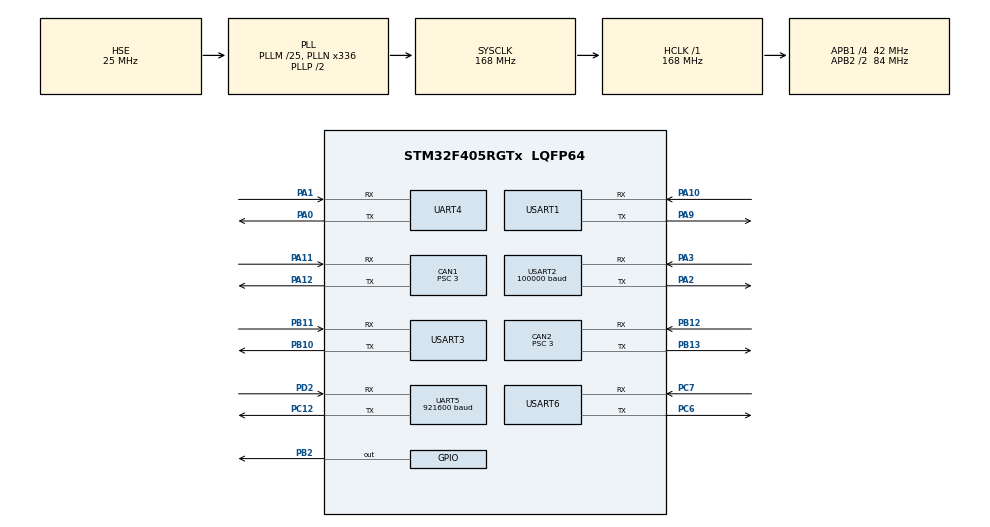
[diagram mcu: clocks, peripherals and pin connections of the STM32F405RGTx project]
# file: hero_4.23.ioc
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CAN1.ABOM=ENABLE
CAN1.AWUM=ENABLE
CAN1.BS1=CAN_BS1_9TQ
CAN1.BS2=CAN_BS2_4TQ
CAN1.CalculateBaudRate=1000000
CAN1.CalculateTimeBit=1000
CAN1.CalculateTimeQuantum=71.42857142857143
CAN1.NART=DISABLE
CAN1.Prescaler=3
CAN1.TXFP=ENABLE
CAN2.ABOM=ENABLE
CAN2.AWUM=ENABLE
CAN2.BS1=CAN_BS1_9TQ
CAN2.BS2=CAN_BS2_4TQ
CAN2.CalculateBaudRate=1000000
CAN2.CalculateTimeBit=1000
CAN2.CalculateTimeQuantum=71.42857142857143
CAN2.NART=ENABLE
CAN2.Prescaler=3
CAN2.TXFP=ENABLE
Dma.Request0=USART2_RX
Dma.Request1=UART4_RX
Dma.Request2=UART5_RX
Dma.Request3=USART1_RX
Dma.Request4=USART6_RX
Dma.Request5=USART6_TX
Dma.UART4_RX.1.Direction=DMA_PERIPH_TO_MEMORY
Dma.UART4_RX.1.FIFOMode=DMA_FIFOMODE_DISABLE
Dma.UART4_RX.1.Instance=DMA1_Stream2
Dma.UART4_RX.1.MemDataAlignment=DMA_MDATAALIGN_BYTE
Dma.UART4_RX.1.MemInc=DMA_MINC_ENABLE
Dma.UART4_RX.1.Mode=DMA_CIRCULAR
Dma.UART4_RX.1.PeriphDataAlignment=DMA_PDATAALIGN_BYTE
Dma.UART4_RX.1.PeriphInc=DMA_PINC_DISABLE
Dma.UART4_RX.1.Priority=DMA_PRIORITY_VERY_HIGH
Dma.UART5_RX.2.Direction=DMA_PERIPH_TO_MEMORY
Dma.UART5_RX.2.FIFOMode=DMA_FIFOMODE_DISABLE
Dma.UART5_RX.2.Instance=DMA1_Stream0
Dma.UART5_RX.2.MemDataAlignment=DMA_MDATAALIGN_BYTE
Dma.UART5_RX.2.MemInc=DMA_MINC_ENABLE
Dma.UART5_RX.2.Mode=DMA_CIRCULAR
Dma.UART5_RX.2.PeriphDataAlignment=DMA_PDATAALIGN_BYTE
Dma.UART5_RX.2.PeriphInc=DMA_PINC_DISABLE
Dma.UART5_RX.2.Priority=DMA_PRIORITY_VERY_HIGH
Dma.USART1_RX.3.Direction=DMA_PERIPH_TO_MEMORY
Dma.USART1_RX.3.FIFOMode=DMA_FIFOMODE_DISABLE
Dma.USART1_RX.3.Instance=DMA2_Stream2
Dma.USART1_RX.3.MemDataAlignment=DMA_MDATAALIGN_BYTE
Dma.USART1_RX.3.MemInc=DMA_MINC_ENABLE
Dma.USART1_RX.3.Mode=DMA_CIRCULAR
Dma.USART1_RX.3.PeriphDataAlignment=DMA_PDATAALIGN_BYTE
Dma.USART1_RX.3.PeriphInc=DMA_PINC_DISABLE
Dma.USART1_RX.3.Priority=DMA_PRIORITY_VERY_HIGH
Dma.USART2_RX.0.Direction=DMA_PERIPH_TO_MEMORY
Dma.USART2_RX.0.FIFOMode=DMA_FIFOMODE_DISABLE
Dma.USART2_RX.0.Instance=DMA1_Stream5
Dma.USART2_RX.0.MemDataAlignment=DMA_MDATAALIGN_BYTE
Dma.USART2_RX.0.MemInc=DMA_MINC_ENABLE
Dma.USART2_RX.0.Mode=DMA_NORMAL
Dma.USART2_RX.0.PeriphDataAlignment=DMA_PDATAALIGN_BYTE
Dma.USART2_RX.0.PeriphInc=DMA_PINC_DISABLE
Dma.USART2_RX.0.Priority=DMA_PRIORITY_VERY_HIGH
Dma.USART6_RX.4.Direction=DMA_PERIPH_TO_MEMORY
Dma.USART6_RX.4.FIFOMode=DMA_FIFOMODE_DISABLE
Dma.USART6_RX.4.Instance=DMA2_Stream1
Dma.USART6_RX.4.MemDataAlignment=DMA_MDATAALIGN_BYTE
Dma.USART6_RX.4.MemInc=DMA_MINC_ENABLE
Dma.USART6_RX.4.Mode=DMA_CIRCULAR
Dma.USART6_RX.4.PeriphDataAlignment=DMA_PDATAALIGN_BYTE
Dma.USART6_RX.4.PeriphInc=DMA_PINC_DISABLE
Dma.USART6_RX.4.Priority=DMA_PRIORITY_LOW
Dma.USART6_TX.5.Direction=DMA_MEMORY_TO_PERIPH
Dma.USART6_TX.5.FIFOMode=DMA_FIFOMODE_DISABLE
Dma.USART6_TX.5.Instance=DMA2_Stream6
Dma.USART6_TX.5.MemDataAlignment=DMA_MDATAALIGN_BYTE
Dma.USART6_TX.5.MemInc=DMA_MINC_ENABLE
Dma.USART6_TX.5.Mode=DMA_CIRCULAR
Dma.USART6_TX.5.PeriphDataAlignment=DMA_PDATAALIGN_BYTE
Dma.USART6_TX.5.PeriphInc=DMA_PINC_DISABLE
Dma.USART6_TX.5.Priority=DMA_PRIORITY_LOW
FREERTOS.INCLUDE_vTaskDelayUntil=1
FREERTOS.Tasks01=vofa__task,-2,128,vofa__Task,Default,NULL,Dynamic,NULL,NULL;Gimbal__Task,0,512,Gimbal_Task,Default,NULL,Dynamic,NULL,NULL;can__Task,-1,512,can_Task,Default,NULL,Dynamic,NULL,NULL;Shoot__Task,0,512,Shoot_task,Default,NULL,Dynamic,NULL,NULL
Mcu.Family=STM32F4
Mcu.Name=STM32F405RGTx
Mcu.Package=LQFP64
NVIC.CAN1_RX0_IRQn=true\:5\:0\:true\:false\:true\:true\:true\:true\:true
NVIC.CAN2_RX0_IRQn=true\:5\:0\:true\:false\:true\:true\:true\:true\:true
NVIC.DMA1_Stream0_IRQn=true\:5\:0\:false\:false\:true\:true\:false\:true\:true
NVIC.DMA1_Stream2_IRQn=true\:5\:0\:false\:false\:true\:true\:false\:true\:true
NVIC.DMA1_Stream5_IRQn=true\:5\:0\:true\:false\:true\:true\:false\:true\:true
NVIC.DMA2_Stream1_IRQn=true\:5\:0\:false\:false\:true\:true\:false\:true\:true
NVIC.DMA2_Stream2_IRQn=true\:5\:0\:false\:false\:true\:true\:false\:true\:true
NVIC.DMA2_Stream6_IRQn=true\:5\:0\:false\:false\:true\:true\:false\:true\:true
NVIC.PriorityGroup=NVIC_PRIORITYGROUP_4
NVIC.TIM8_TRG_COM_TIM14_IRQn=true\:15\:0\:true\:false\:true\:false\:false\:true\:true
NVIC.TimeBase=TIM8_TRG_COM_TIM14_IRQn
NVIC.TimeBaseIP=TIM14
NVIC.UART4_IRQn=true\:8\:0\:true\:false\:true\:true\:true\:true\:true
NVIC.UART5_IRQn=true\:5\:0\:true\:false\:true\:true\:true\:true\:true
NVIC.USART1_IRQn=true\:7\:0\:true\:false\:true\:true\:true\:true\:true
NVIC.USART2_IRQn=true\:7\:0\:true\:false\:true\:true\:true\:true\:true
NVIC.USART6_IRQn=true\:5\:0\:false\:false\:true\:true\:true\:true\:true
PA0-WKUP.Mode=Asynchronous
PA0-WKUP.Signal=UART4_TX
PA1.Mode=Asynchronous
PA1.Signal=UART4_RX
PA10.Mode=Asynchronous
PA10.Signal=USART1_RX
PA11.GPIO_PuPd=GPIO_NOPULL
PA11.Mode=CAN_Activate
PA11.Signal=CAN1_RX
PA12.Mode=CAN_Activate
PA12.Signal=CAN1_TX
PA13.Mode=Serial_Wire
PA13.Signal=SYS_JTMS-SWDIO
PA14.Mode=Serial_Wire
PA14.Signal=SYS_JTCK-SWCLK
PA2.GPIO_PuPd=GPIO_PULLUP
PA2.Mode=Asynchronous
PA2.Signal=USART2_TX
PA3.GPIO_PuPd=GPIO_PULLUP
PA3.Mode=Asynchronous
PA3.Signal=USART2_RX
PA9.Mode=Asynchronous
PA9.Signal=USART1_TX
PB10.Mode=Asynchronous
PB10.Signal=USART3_TX
PB11.Mode=Asynchronous
PB11.Signal=USART3_RX
PB12.Mode=CAN_Activate
PB12.Signal=CAN2_RX
PB13.Mode=CAN_Activate
PB13.Signal=CAN2_TX
PB2.Signal=GPIO_Output
PC12.Mode=Asynchronous
PC12.Signal=UART5_TX
PC6.Mode=Asynchronous
PC6.Signal=USART6_TX
PC7.Mode=Asynchronous
PC7.Signal=USART6_RX
PD2.Mode=Asynchronous
PD2.Signal=UART5_RX
PH0-OSC_IN.Mode=HSE-External-Oscillator
PH0-OSC_IN.Signal=RCC_OSC_IN
PH1-OSC_OUT.Mode=HSE-External-Oscillator
PH1-OSC_OUT.Signal=RCC_OSC_OUT
ProjectManager.HeapSize=0x800
ProjectManager.StackSize=0x800
ProjectManager.TargetToolchain=MDK-ARM V5
RCC.48MHZClocksFreq_Value=84000000
RCC.AHBFreq_Value=168000000
RCC.APB1CLKDivider=RCC_HCLK_DIV4
RCC.APB1Freq_Value=42000000
RCC.APB1TimFreq_Value=84000000
RCC.APB2CLKDivider=RCC_HCLK_DIV2
RCC.APB2Freq_Value=84000000
RCC.APB2TimFreq_Value=168000000
RCC.CortexFreq_Value=168000000
RCC.HCLKFreq_Value=168000000
RCC.HSE_VALUE=25000000
RCC.HSI_VALUE=16000000
RCC.LSE_VALUE=32768
RCC.PLLM=25
RCC.PLLN=336
RCC.PLLSourceVirtual=RCC_PLLSOURCE_HSE
RCC.SYSCLKFreq_VALUE=168000000
RCC.SYSCLKSource=RCC_SYSCLKSOURCE_PLLCLK
RCC.VCOOutputFreq_Value=336000000
UART4.VirtualMode=Asynchronous
UART5.BaudRate=921600
UART5.VirtualMode=Asynchronous
USART1.VirtualMode=VM_ASYNC
USART2.BaudRate=100000
USART2.Parity=PARITY_EVEN
USART2.VirtualMode=VM_ASYNC
USART2.WordLength=WORDLENGTH_9B
USART3.VirtualMode=VM_ASYNC
USART6.VirtualMode=VM_ASYNC
VP_FREERTOS_VS_CMSIS_V1.Mode=CMSIS_V1
VP_SYS_VS_tim14.Mode=TIM14
board=custom

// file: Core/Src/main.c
/* USER CODE BEGIN Header */
/**
  ******************************************************************************
  * @file           : main.c
  * @brief          : Main program body
  ******************************************************************************
  * @attention
  *
  * Copyright (c) 2023 STMicroelectronics.
  * All rights reserved.
  *
  * This software is licensed under terms that can be found in the LICENSE file
  * in the root directory of this software component.
  * If no LICENSE file comes with this software, it is provided AS-IS.
  *
  ******************************************************************************
  */
/* USER CODE END Header */
#include "main.h"
#include "cmsis_os.h"
#include "can.h"
#include "dma.h"
#include "usart.h"
#include "gpio.h"

/* USER CODE BEGIN Includes */
#include "imu_data_decode.h"
/* USER CODE END Includes */

/* USER CODE BEGIN PV */
extern volatile uint8_t sbus_rx_buffer[2][18u];
extern uint8_t imu_data;
/* USER CODE END PV */

void SystemClock_Config(void);
void MX_FREERTOS_Init(void);

int main(void)
{

  /* MCU Configuration--------------------------------------------------------*/

  /* Reset of all peripherals, Initializes the Flash interface and the Systick. */
  HAL_Init();

  /* Configure the system clock */
  SystemClock_Config();

  /* Initialize all configured peripherals */
  MX_GPIO_Init();
  MX_DMA_Init();
  MX_CAN1_Init();
  MX_CAN2_Init();
  MX_USART2_UART_Init();
  MX_UART5_Init();
  MX_USART3_UART_Init();
  MX_UART4_Init();
  MX_USART1_UART_Init();
  MX_USART6_UART_Init();
  /* USER CODE BEGIN 2 */

	/*CAN config*/
	CAN1_Filter_Config_and_Start();
	CAN2_Filter_Config_and_Start();
	/*RC_dma_receive*/
  RC_data_init();
	__HAL_UART_ENABLE_IT(&huart2,UART_IT_IDLE);
	HAL_UART_Receive_DMA(&huart2,(uint8_t*)&sbus_rx_buffer[0][0],18u);
  /*Imu_receive*/
	imu_data_decode_init();
	HAL_UART_Receive_IT(&huart5,&imu_data,1);

	/* 打开串口IDLE中断 */
	__HAL_UART_ENABLE_IT(&huart6,UART_IT_IDLE);

  /* USER CODE END 2 */

  /* Call init function for freertos objects (in freertos.c) */
  MX_FREERTOS_Init();

  /* Start scheduler */
  osKernelStart();
  /* We should never get here as control is now taken by the scheduler */
  /* Infinite loop */
  while (1)
  {

  }
}

void SystemClock_Config(void)
{
  RCC_OscInitTypeDef RCC_OscInitStruct = {0};
  RCC_ClkInitTypeDef RCC_ClkInitStruct = {0};

  /** Configure the main internal regulator output voltage
  */
  __HAL_RCC_PWR_CLK_ENABLE();
  __HAL_PWR_VOLTAGESCALING_CONFIG(PWR_REGULATOR_VOLTAGE_SCALE1);

  /** Initializes the RCC Oscillators according to the specified parameters
  * in the RCC_OscInitTypeDef structure.
  */
  RCC_OscInitStruct.OscillatorType = RCC_OSCILLATORTYPE_HSE;
  RCC_OscInitStruct.HSEState = RCC_HSE_ON;
  RCC_OscInitStruct.PLL.PLLState = RCC_PLL_ON;
  RCC_OscInitStruct.PLL.PLLSource = RCC_PLLSOURCE_HSE;
  RCC_OscInitStruct.PLL.PLLM = 25;
  RCC_OscInitStruct.PLL.PLLN = 336;
  RCC_OscInitStruct.PLL.PLLP = RCC_PLLP_DIV2;
  RCC_OscInitStruct.PLL.PLLQ = 4;
  if (HAL_RCC_OscConfig(&RCC_OscInitStruct) != HAL_OK)
  {
    Error_Handler();
  }

  /** Initializes the CPU, AHB and APB buses clocks
  */
  RCC_ClkInitStruct.ClockType = RCC_CLOCKTYPE_HCLK|RCC_CLOCKTYPE_SYSCLK
                              |RCC_CLOCKTYPE_PCLK1|RCC_CLOCKTYPE_PCLK2;
  RCC_ClkInitStruct.SYSCLKSource = RCC_SYSCLKSOURCE_PLLCLK;
  RCC_ClkInitStruct.AHBCLKDivider = RCC_SYSCLK_DIV1;
  RCC_ClkInitStruct.APB1CLKDivider = RCC_HCLK_DIV4;
  RCC_ClkInitStruct.APB2CLKDivider = RCC_HCLK_DIV2;

  if (HAL_RCC_ClockConfig(&RCC_ClkInitStruct, FLASH_LATENCY_5) != HAL_OK)
  {
    Error_Handler();
  }
}

void HAL_TIM_PeriodElapsedCallback(TIM_HandleTypeDef *htim)
{
  if (htim->Instance == TIM14) {
    HAL_IncTick();
  }
}

void Error_Handler(void)
{
  __disable_irq();
  while (1)
  {
  }
}

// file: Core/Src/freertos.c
/* USER CODE BEGIN Header */
/**
  ******************************************************************************
  * File Name          : freertos.c
  * Description        : Code for freertos applications
  ******************************************************************************
  * @attention
  *
  * Copyright (c) 2023 STMicroelectronics.
  * All rights reserved.
  *
  * This software is licensed under terms that can be found in the LICENSE file
  * in the root directory of this software component.
  * If no LICENSE file comes with this software, it is provided AS-IS.
  *
  ******************************************************************************
  */
/* USER CODE END Header */

#include "FreeRTOS.h"
#include "task.h"
#include "main.h"
#include "cmsis_os.h"

/* USER CODE BEGIN Includes */
#include "Report.h"
/* USER CODE END Includes */

osThreadId vofa__taskHandle;
osThreadId Gimbal__TaskHandle;
osThreadId can__TaskHandle;
osThreadId Shoot__TaskHandle;

void vofa__Task(void const * argument);
void Gimbal_Task(void const * argument);
void can_Task(void const * argument);
void Shoot_task(void const * argument);

void MX_FREERTOS_Init(void); /* (MISRA C 2004 rule 8.1) */

/* GetIdleTaskMemory prototype (linked to static allocation support) */
void vApplicationGetIdleTaskMemory( StaticTask_t **ppxIdleTaskTCBBuffer, StackType_t **ppxIdleTaskStackBuffer, uint32_t *pulIdleTaskStackSize );

/* USER CODE BEGIN GET_IDLE_TASK_MEMORY */
static StaticTask_t xIdleTaskTCBBuffer;
static StackType_t xIdleStack[configMINIMAL_STACK_SIZE];

void vApplicationGetIdleTaskMemory( StaticTask_t **ppxIdleTaskTCBBuffer, StackType_t **ppxIdleTaskStackBuffer, uint32_t *pulIdleTaskStackSize )
{
  *ppxIdleTaskTCBBuffer = &xIdleTaskTCBBuffer;
  *ppxIdleTaskStackBuffer = &xIdleStack[0];
  *pulIdleTaskStackSize = configMINIMAL_STACK_SIZE;
  /* place for user code */
}
/* USER CODE END GET_IDLE_TASK_MEMORY */

void MX_FREERTOS_Init(void) {

  /* Create the thread(s) */
  /* definition and creation of vofa__task */
  osThreadDef(vofa__task, vofa__Task, osPriorityLow, 0, 128);
  vofa__taskHandle = osThreadCreate(osThread(vofa__task), NULL);

  /* definition and creation of Gimbal__Task */
  osThreadDef(Gimbal__Task, Gimbal_Task, osPriorityNormal, 0, 512);
  Gimbal__TaskHandle = osThreadCreate(osThread(Gimbal__Task), NULL);

  /* definition and creation of can__Task */
  osThreadDef(can__Task, can_Task, osPriorityBelowNormal, 0, 512);
  can__TaskHandle = osThreadCreate(osThread(can__Task), NULL);

  /* definition and creation of Shoot__Task */
  osThreadDef(Shoot__Task, Shoot_task, osPriorityNormal, 0, 512);
  Shoot__TaskHandle = osThreadCreate(osThread(Shoot__Task), NULL);

}

void vofa__Task(void const * argument)
{
  /* USER CODE BEGIN vofa__Task */
  uint32_t PreviousWaketime = osKernelSysTick();
  /* Infinite loop */
  for(;;)
  {
    report_SendData(0,0,0,0,0);
 		osDelayUntil(&PreviousWaketime,2);
  }
  /* USER CODE END vofa__Task */
}

void Gimbal_Task(void const * argument)
{
  /* USER CODE BEGIN Gimbal_Task */
  uint32_t PreviousWaketime = osKernelSysTick();
  /* Infinite loop */
  for(;;)
  {
//    /*Gimbal target value*/
//    ReadRc_Gimbal();
//    /*Gimbal PID count*/
//    Gimbal_PID();

 		osDelayUntil(&PreviousWaketime,2);
  }
  /* USER CODE END Gimbal_Task */
}

void can_Task(void const * argument)
{
  /* USER CODE BEGIN can_Task */
  uint32_t PreviousWaketime = osKernelSysTick();
  /* Infinite loop */
  for(;;)
  {
//    /*YAW Dial motor data transmission*/
//    Yaw_Dial_Can_Send();
//    /*Pitch motor data transmission*/
//    Pitch_Can_Send();
//    /*Friction motor data transmission*/
//    Friction_Can_Send();

 		osDelayUntil(&PreviousWaketime,2);
  }
  /* USER CODE END can_Task */
}

void Shoot_task(void const * argument)
{
  for(;;)
  {
    osDelay(1);
  }
}
